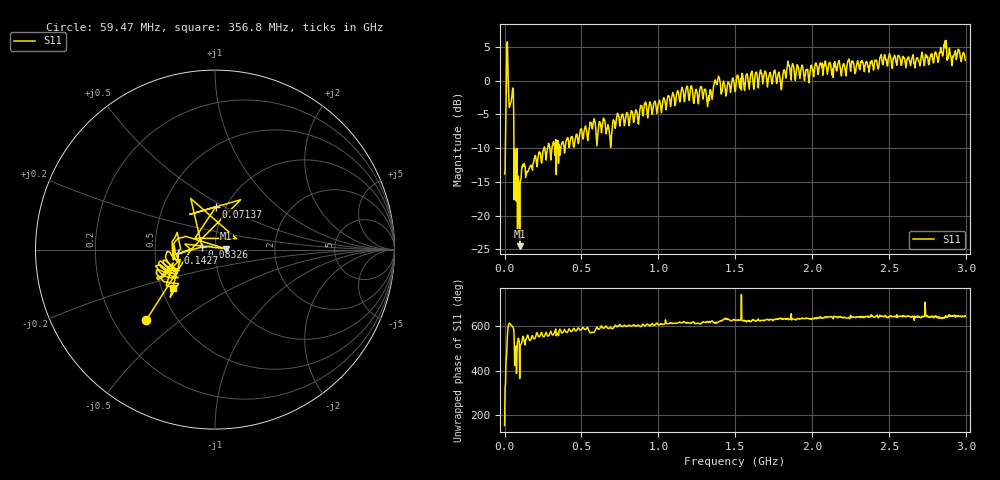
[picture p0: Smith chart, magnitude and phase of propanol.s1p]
# HZ S RI R 50
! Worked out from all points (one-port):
!   1009 points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, 10 kHz to 2.997 GHz, reference 50 ohm
!   lowest |S11| = -24.5 dB at 98.13 MHz (marker M1), VSWR 1.13, Z = 56.3 + j0.555 ohm
!   |S11| at or under -10 dB: 60.61 MHz to 255.7 MHz (195.1 MHz wide, 123 % of centre); 261.7 MHz to 279.4 MHz (17.68 MHz wide, 6.54 % of centre); 294.4 MHz to 308.3 MHz (13.86 MHz wide, 4.6 % of centre) (the widest 3 of 9)
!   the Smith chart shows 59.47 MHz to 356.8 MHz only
!   S11 on the Smith chart (normalised r, x): 59.47 MHz: 0.34, -0.38; 71.37 MHz: 0.90, +0.46; 83.26 MHz: 0.86, +0.03; 142.7 MHz: 0.66, -0.02; 356.8 MHz: 0.58, -0.27
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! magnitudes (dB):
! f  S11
! 10 kHz  -13.8
! 11.9 MHz  0.5
! 26.77 MHz  -2.2
! 44.61 MHz  -2.7
! 59.47 MHz  -5.3
! 71.37 MHz  -12.4
! 83.26 MHz  -22.5
! 98.13 MHz  -24.5
! 116 MHz  -12.7
! 142.7 MHz  -13.8
! 273.5 MHz  -10.9
! 356.8 MHz  -10.1
! 374.6 MHz  -9.1
! 570.9 MHz  -7.1
! 686.8 MHz  -8.8
! 749.3 MHz  -6.7
! 1.124 GHz  -1.5
! 1.329 GHz  -2.2
! 1.383 GHz  -0.4
! 1.424 GHz  -0.1
! 1.499 GHz  -1.6
! 1.793 GHz  0.0
! 1.873 GHz  2.5
! 2.248 GHz  1.8
! 2.622 GHz  3.3
! 2.86 GHz  5.3
! 2.896 GHz  4.3
! 2.997 GHz  3.0
